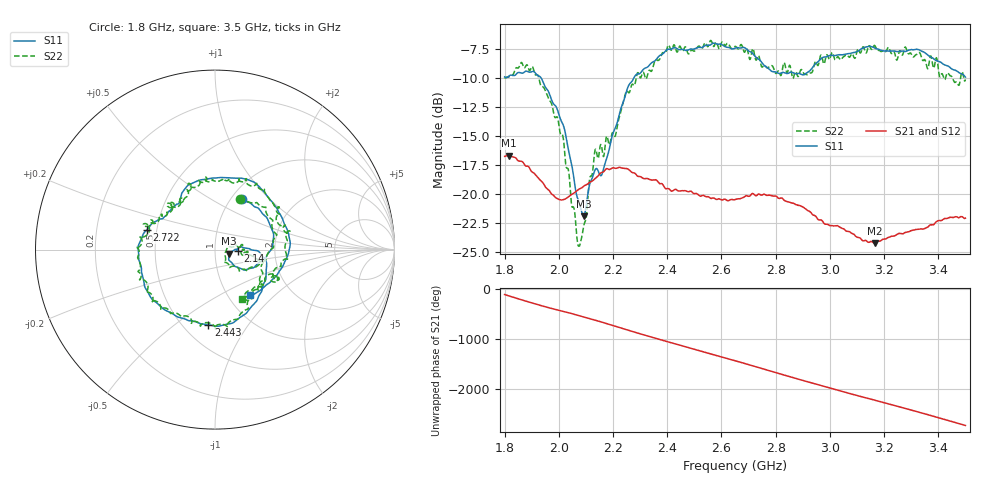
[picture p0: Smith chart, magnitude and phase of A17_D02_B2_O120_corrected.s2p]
! Created with skrf 1.9.0 (http://scikit-rf.org).
# Hz S RI R 50.0
!freq ReS11 ImS11 ReS21 ImS21 ReS12 ImS12 ReS22 ImS22
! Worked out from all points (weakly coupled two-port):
!   1601 points, 1.8 GHz to 3.5 GHz, reference 50 ohm
!   highest |S21| = -16.67 dB at 1.815 GHz (marker M1); lowest = -24.2 dB at 3.165 GHz (marker M2)
!   lowest |S11| = -21.9 dB at 2.092 GHz (marker M3), VSWR 1.17, Z = 58.3 - j2.67 ohm
!   |S11| at or under -10 dB: 1.935 GHz to 2.276 GHz (341.5 MHz wide, 16.2 % of centre)
!   |S22| runs from -24.5 to -6.8 dB; largest |S21 - S12| = 0.0025
!   S11 on the Smith chart (normalised r, x): 1.8 GHz: 1.12, +0.70; 2.14 GHz: 1.30, -0.01; 2.443 GHz: 0.66, -0.67; 2.722 GHz: 0.44, +0.12; 3.5 GHz: 1.25, -0.71
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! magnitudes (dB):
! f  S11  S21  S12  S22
! 1.8 GHz  -9.9  -16.7  -16.8  -10.0
! 1.815 GHz  -9.8  -16.7  -16.7  -9.9
! 1.902 GHz  -9.4  -18.1  -18.1  -9.0
! 1.967 GHz  -11.5  -19.8  -19.8  -11.9
! 2.02 GHz  -14.3  -20.5  -20.5  -16.0
! 2.07 GHz  -20.4  -19.6  -19.7  -24.3
! 2.084 GHz  -21.4  -19.5  -19.4  -23.8
! 2.092 GHz  -21.9  -19.3  -19.4  -22.7
! 2.14 GHz  -17.8  -18.5  -18.5  -16.5
! 2.162 GHz  -18.1  -18.1  -18.0  -16.6
! 2.21 GHz  -14.2  -17.8  -17.7  -14.9
! 2.259 GHz  -10.6  -17.9  -17.9  -11.3
! 2.367 GHz  -8.2  -19.0  -18.9  -8.5
! 2.443 GHz  -7.5  -19.7  -19.7  -7.4
! 2.65 GHz  -7.4  -20.5  -20.4  -7.3
! 2.722 GHz  -8.1  -20.1  -20.0  -8.0
! 2.81 GHz  -9.6  -20.4  -20.3  -9.4
! 2.934 GHz  -9.2  -21.7  -21.7  -9.5
! 3.165 GHz  -7.4  -24.2  -24.2  -7.2
! 3.217 GHz  -7.7  -23.7  -23.7  -7.4
! 3.328 GHz  -7.6  -23.0  -23.0  -7.8
! 3.5 GHz  -9.9  -22.1  -22.1  -10.1
